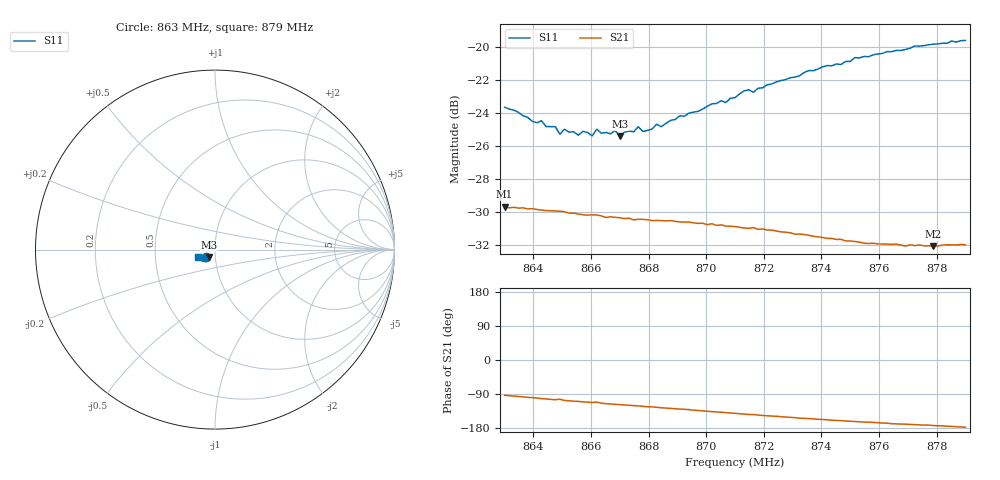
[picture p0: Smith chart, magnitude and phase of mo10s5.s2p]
# HZ S RI R 50
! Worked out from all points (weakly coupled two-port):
!   101 points, 863 MHz to 879 MHz, reference 50 ohm
!   highest |S21| = -29.68 dB at 863 MHz (marker M1); lowest = -32.1 dB at 877.88 MHz (marker M2)
!   lowest |S11| = -25.4 dB at 867 MHz (marker M3), VSWR 1.11, Z = 46.6 - j3.97 ohm
!   |S11| at or under -10 dB: start of sweep to end of sweep
!   S12 and S22 are empty: the file has one direction only
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8.63e8  -0.0525 -0.0396  -0.00171 -0.0328  0 0  0 0
8.6476e8  -0.0418 -0.0394  -0.00816 -0.0308  0 0  0 0
8.6492e8  -0.0386 -0.0383  -0.00742 -0.0309  0 0  0 0
8.6508e8  -0.0403 -0.0394  -0.00912 -0.0303  0 0  0 0
8.6556e8  -0.0373 -0.0391  -0.0102 -0.0294  0 0  0 0
8.6572e8  -0.0373 -0.0412  -0.0109 -0.029  0 0  0 0
8.6604e8  -0.0356 -0.0403  -0.0117 -0.0287  0 0  0 0
8.662e8  -0.0368 -0.0427  -0.0112 -0.0289  0 0  0 0
8.6636e8  -0.0359 -0.0414  -0.0125 -0.0281  0 0  0 0
8.6684e8  -0.0347 -0.0438  -0.0138 -0.0271  0 0  0 0
8.67e8  -0.033 -0.0424  -0.0141 -0.0269  0 0  0 0
8.6764e8  -0.0333 -0.0467  -0.0155 -0.0257  0 0  0 0
8.678e8  -0.032 -0.0453  -0.0161 -0.0254  0 0  0 0
8.6828e8  -0.0313 -0.0492  -0.017 -0.0245  0 0  0 0
8.6844e8  -0.0307 -0.0485  -0.0175 -0.0241  0 0  0 0
8.71e8  -0.0371 -0.0597  -0.0221 -0.018  0 0  0 0
8.7132e8  -0.0394 -0.0624  -0.0225 -0.0171  0 0  0 0
8.7164e8  -0.0388 -0.0618  -0.0229 -0.0167  0 0  0 0
8.7372e8  -0.0531 -0.0662  -0.0242 -0.0111  0 0  0 0
8.7644e8  -0.0767 -0.0593  -0.0247 -0.00517  0 0  0 0
8.7788e8  -0.0885 -0.051  -0.0247 -0.00307  0 0  0 0
8.79e8  -0.0962 -0.0418  -0.0251 -0.00122  0 0  0 0
